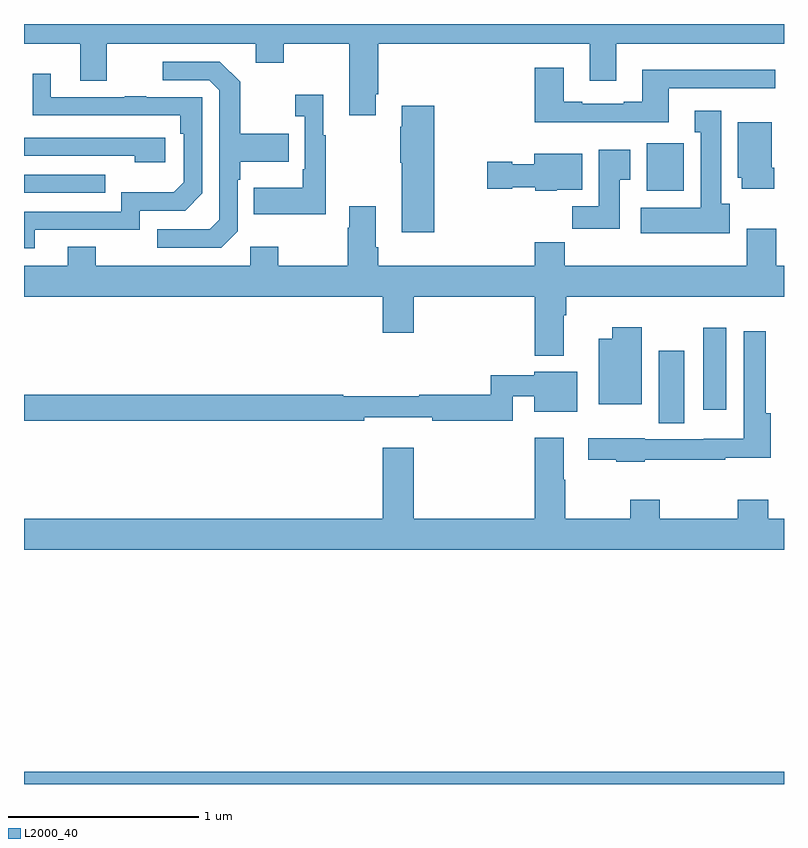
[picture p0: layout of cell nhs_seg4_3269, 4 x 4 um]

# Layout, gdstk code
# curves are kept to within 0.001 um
import gdstk
lib = gdstk.Library(unit=1e-6, precision=1e-09)
def R(c, l, rs):  # rectangles x0, y0, x1, y1
    for r in rs: c.add(gdstk.rectangle(r[:2], r[2:], *l))
def P(c, l, *ps):  # polygons
    for p in ps: c.add(gdstk.Polygon(p, *l))
L2000_40 = (2000, 40)

nhs_seg4_3269 = lib.new_cell('nhs_seg4_3269')
R(nhs_seg4_3269, L2000_40, [(283,816.9,287,816.964), (286.34,818.8,286.474,819.181), (286.574,818.871,286.696,819.301), (283,820.011,283.427,820.107), (286.277,820.022,286.473,820.273)])
P(nhs_seg4_3269, L2000_40, [(284.851,820.531),(284.864,820.531),(284.864,820.796),(285.977,820.796),(285.977,820.602),(286.117,820.602),(286.117,820.796),(287,820.796),(287,820.9),(283,820.9),(283,820.796),(283.295,820.796),(283.295,820.602),(283.435,820.602),(283.435,820.796),(284.219,820.796),(284.219,820.697),(284.367,820.697),(284.367,820.796),(284.711,820.796),(284.711,820.419),(284.851,820.419)],
  [(284.124,819.81),(284.124,820.079),(284.137,820.079),(284.137,820.175),(284.393,820.175),(284.393,820.323),(284.137,820.323),(284.137,820.595),(284.031,820.701),(283.731,820.701),(283.731,820.605),(283.974,820.605),(284.028,820.551),(284.028,819.87),(283.977,819.819),(283.701,819.819),(283.701,819.723),(284.037,819.723)],
  [(286.393,820.563),(286.954,820.563),(286.954,820.66),(286.253,820.66),(286.253,820.492),(286.157,820.492),(286.157,820.479),(285.937,820.479),(285.937,820.492),(285.841,820.492),(285.841,820.669),(285.689,820.669),(285.689,820.382),(286.393,820.382)],
  [(283.057,819.816),(283.608,819.816),(283.608,819.918),(283.848,819.918),(283.938,820.008),(283.938,820.515),(283.643,820.515),(283.643,820.52),(283.531,820.52),(283.531,820.515),(283.141,820.515),(283.141,820.639),(283.045,820.639),(283.045,820.42),(283.822,820.419),(283.822,820.322),(283.842,820.322),(283.842,820.068),(283.789,820.015),(283.512,820.015),(283.512,819.912),(283,819.912),(283,819.72),(283.057,819.72)],
  [(284.587,820.315),(284.575,820.315),(284.575,820.528),(284.427,820.528),(284.427,820.415),(284.478,820.415),(284.478,820.135),(284.466,820.135),(284.466,820.039),(284.209,820.039),(284.209,819.899),(284.587,819.899)],
  [(285.16,820.471),(284.987,820.471),(284.987,820.358),(284.98,820.358),(284.98,820.169),(284.987,820.169),(284.987,819.804),(285.16,819.804)],
  [(286.714,819.954),(286.669,819.954),(286.669,820.444),(286.529,820.444),(286.529,820.331),(286.562,820.331),(286.562,819.934),(286.245,819.934),(286.245,819.8),(286.714,819.8)],
  [(286.949,820.144),(286.936,820.144),(286.936,820.384),(286.757,820.384),(286.757,820.092),(286.778,820.092),(286.778,820.032),(286.949,820.032)],
  [(283.744,820.302),(283,820.302),(283,820.206),(283.583,820.206),(283.583,820.172),(283.744,820.172)],
  [(286.135,820.081),(286.192,820.081),(286.192,820.237),(286.025,820.237),(286.025,819.94),(285.886,819.94),(285.886,819.822),(286.135,819.822)],
  [(285.804,820.028),(285.937,820.028),(285.937,820.216),(285.686,820.216),(285.686,820.162),(285.57,820.162),(285.57,820.175),(285.438,820.175),(285.438,820.033),(285.57,820.033),(285.57,820.04),(285.69,820.04),(285.69,820.022),(285.804,820.022)],
  [(285.841,819.368),(285.854,819.368),(285.854,819.464),(287,819.464),(287,819.628),(286.958,819.628),(286.958,819.823),(286.805,819.823),(286.805,819.628),(285.845,819.628),(285.845,819.752),(285.689,819.752),(285.689,819.628),(284.864,819.628),(284.864,819.724),(284.851,819.724),(284.851,819.94),(284.711,819.94),(284.711,819.827),(284.704,819.827),(284.704,819.628),(284.337,819.628),(284.337,819.727),(284.19,819.727),(284.19,819.628),(283.377,819.628),(283.377,819.727),(283.229,819.727),(283.229,819.628),(283,819.628),(283,819.464),(284.888,819.464),(284.888,819.276),(285.052,819.276),(285.052,819.464),(285.689,819.464),(285.689,819.155),(285.841,819.155)],
  [(286.252,819.304),(286.097,819.304),(286.097,819.244),(286.025,819.244),(286.025,818.9),(286.252,818.9)],
  [(286.266,818.607),(286.691,818.607),(286.691,818.617),(286.931,818.617),(286.931,818.851),(286.904,818.851),(286.904,819.283),(286.788,819.283),(286.788,818.716),(286.578,818.716),(286.578,818.715),(286.266,818.715),(286.266,818.719),(285.969,818.719),(285.969,818.607),(286.116,818.607),(286.116,818.597),(286.266,818.597)],
  [(284.792,818.831),(285.148,818.831),(285.148,818.812),(285.573,818.812),(285.573,818.941),(285.686,818.941),(285.686,818.858),(285.913,818.858),(285.913,819.07),(285.686,819.07),(285.686,819.052),(285.457,819.052),(285.457,818.948),(285.08,818.948),(285.08,818.941),(284.68,818.941),(284.68,818.948),(283,818.948),(283,818.812),(284.792,818.812)],
  [(287,818.296),(286.916,818.296),(286.916,818.395),(286.756,818.395),(286.756,818.296),(286.347,818.296),(286.347,818.395),(286.192,818.395),(286.192,818.296),(285.849,818.296),(285.849,818.501),(285.841,818.501),(285.841,818.722),(285.689,818.722),(285.689,818.296),(285.052,818.296),(285.052,818.671),(284.888,818.671),(284.888,818.296),(283,818.296),(283,818.132),(287,818.132)])

lib.write_gds('nhs_seg4_3269.gds')
